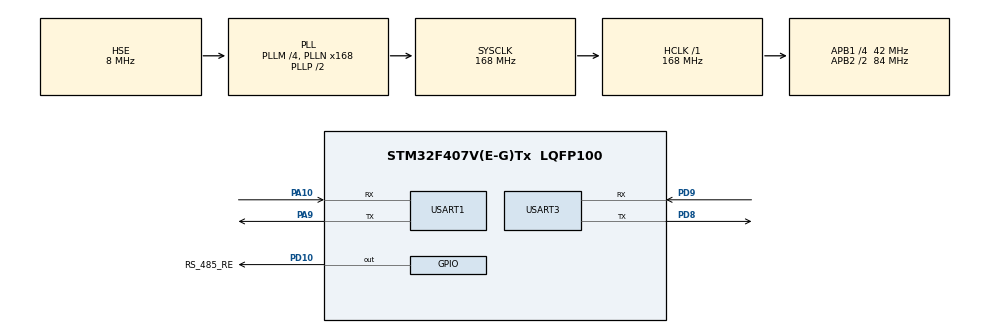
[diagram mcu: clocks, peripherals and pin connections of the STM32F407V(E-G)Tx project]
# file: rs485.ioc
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Dma.Request0=USART3_RX
Dma.Request1=USART3_TX
Dma.Request2=USART1_RX
Dma.Request3=USART1_TX
Dma.USART1_RX.2.Direction=DMA_PERIPH_TO_MEMORY
Dma.USART1_RX.2.FIFOMode=DMA_FIFOMODE_DISABLE
Dma.USART1_RX.2.Instance=DMA2_Stream2
Dma.USART1_RX.2.MemDataAlignment=DMA_MDATAALIGN_BYTE
Dma.USART1_RX.2.MemInc=DMA_MINC_ENABLE
Dma.USART1_RX.2.Mode=DMA_NORMAL
Dma.USART1_RX.2.PeriphDataAlignment=DMA_PDATAALIGN_BYTE
Dma.USART1_RX.2.PeriphInc=DMA_PINC_DISABLE
Dma.USART1_RX.2.Priority=DMA_PRIORITY_LOW
Dma.USART1_TX.3.Direction=DMA_MEMORY_TO_PERIPH
Dma.USART1_TX.3.FIFOMode=DMA_FIFOMODE_DISABLE
Dma.USART1_TX.3.Instance=DMA2_Stream7
Dma.USART1_TX.3.MemDataAlignment=DMA_MDATAALIGN_BYTE
Dma.USART1_TX.3.MemInc=DMA_MINC_ENABLE
Dma.USART1_TX.3.Mode=DMA_NORMAL
Dma.USART1_TX.3.PeriphDataAlignment=DMA_PDATAALIGN_BYTE
Dma.USART1_TX.3.PeriphInc=DMA_PINC_DISABLE
Dma.USART1_TX.3.Priority=DMA_PRIORITY_LOW
Dma.USART3_RX.0.Direction=DMA_PERIPH_TO_MEMORY
Dma.USART3_RX.0.FIFOMode=DMA_FIFOMODE_DISABLE
Dma.USART3_RX.0.Instance=DMA1_Stream1
Dma.USART3_RX.0.MemDataAlignment=DMA_MDATAALIGN_BYTE
Dma.USART3_RX.0.MemInc=DMA_MINC_ENABLE
Dma.USART3_RX.0.Mode=DMA_NORMAL
Dma.USART3_RX.0.PeriphDataAlignment=DMA_PDATAALIGN_BYTE
Dma.USART3_RX.0.PeriphInc=DMA_PINC_DISABLE
Dma.USART3_RX.0.Priority=DMA_PRIORITY_LOW
Dma.USART3_TX.1.Direction=DMA_MEMORY_TO_PERIPH
Dma.USART3_TX.1.FIFOMode=DMA_FIFOMODE_DISABLE
Dma.USART3_TX.1.Instance=DMA1_Stream3
Dma.USART3_TX.1.MemDataAlignment=DMA_MDATAALIGN_BYTE
Dma.USART3_TX.1.MemInc=DMA_MINC_ENABLE
Dma.USART3_TX.1.Mode=DMA_NORMAL
Dma.USART3_TX.1.PeriphDataAlignment=DMA_PDATAALIGN_BYTE
Dma.USART3_TX.1.PeriphInc=DMA_PINC_DISABLE
Dma.USART3_TX.1.Priority=DMA_PRIORITY_LOW
FREERTOS.Tasks01=defaultTask,24,128,StartDefaultTask,Default,NULL,Dynamic,NULL,NULL
FREERTOS.configUSE_NEWLIB_REENTRANT=1
Mcu.Family=STM32F4
Mcu.Name=STM32F407V(E-G)Tx
Mcu.Package=LQFP100
NVIC.DMA1_Stream1_IRQn=true\:5\:0\:false\:false\:true\:true\:false\:true\:true
NVIC.DMA1_Stream3_IRQn=true\:5\:0\:false\:false\:true\:true\:false\:true\:true
NVIC.DMA2_Stream2_IRQn=true\:5\:0\:false\:false\:true\:true\:false\:true\:true
NVIC.DMA2_Stream7_IRQn=true\:5\:0\:false\:false\:true\:true\:false\:true\:true
NVIC.PriorityGroup=NVIC_PRIORITYGROUP_4
NVIC.TIM3_IRQn=true\:15\:0\:false\:false\:true\:false\:false\:true\:true
NVIC.TimeBase=TIM3_IRQn
NVIC.TimeBaseIP=TIM3
NVIC.USART1_IRQn=true\:5\:0\:false\:false\:true\:true\:true\:true\:true
NVIC.USART3_IRQn=true\:5\:0\:false\:false\:true\:true\:true\:true\:true
PA10.Mode=Asynchronous
PA10.Signal=USART1_RX
PA13.Mode=Serial_Wire
PA13.Signal=SYS_JTMS-SWDIO
PA14.Mode=Serial_Wire
PA14.Signal=SYS_JTCK-SWCLK
PA9.Mode=Asynchronous
PA9.Signal=USART1_TX
PC14-OSC32_IN.Mode=LSE-External-Oscillator
PC14-OSC32_IN.Signal=RCC_OSC32_IN
PC15-OSC32_OUT.Mode=LSE-External-Oscillator
PC15-OSC32_OUT.Signal=RCC_OSC32_OUT
PD10.GPIO_Label=RS_485_RE
PD10.GPIO_Speed=GPIO_SPEED_FREQ_VERY_HIGH
PD10.Signal=GPIO_Output
PD8.Mode=Asynchronous
PD8.Signal=USART3_TX
PD9.Mode=Asynchronous
PD9.Signal=USART3_RX
PH0-OSC_IN.Mode=HSE-External-Oscillator
PH0-OSC_IN.Signal=RCC_OSC_IN
PH1-OSC_OUT.Mode=HSE-External-Oscillator
PH1-OSC_OUT.Signal=RCC_OSC_OUT
ProjectManager.HeapSize=0x200
ProjectManager.StackSize=0x400
ProjectManager.TargetToolchain=STM32CubeIDE
RCC.48MHZClocksFreq_Value=84000000
RCC.AHBFreq_Value=168000000
RCC.APB1CLKDivider=RCC_HCLK_DIV4
RCC.APB1Freq_Value=42000000
RCC.APB1TimFreq_Value=84000000
RCC.APB2CLKDivider=RCC_HCLK_DIV2
RCC.APB2Freq_Value=84000000
RCC.APB2TimFreq_Value=168000000
RCC.CortexFreq_Value=168000000
RCC.HCLKFreq_Value=168000000
RCC.HSE_VALUE=8000000
RCC.HSI_VALUE=16000000
RCC.PLLM=4
RCC.PLLN=168
RCC.PLLSourceVirtual=RCC_PLLSOURCE_HSE
RCC.SYSCLKFreq_VALUE=168000000
RCC.SYSCLKSource=RCC_SYSCLKSOURCE_PLLCLK
RCC.VCOOutputFreq_Value=336000000
USART1.VirtualMode=VM_ASYNC
USART3.VirtualMode=VM_ASYNC
VP_FREERTOS_VS_CMSIS_V2.Mode=CMSIS_V2
VP_SYS_VS_tim3.Mode=TIM3
board=custom

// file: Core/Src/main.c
/* USER CODE BEGIN Header */
/**
  ******************************************************************************
  * @file           : main.c
  * @brief          : Main program body
  ******************************************************************************
  * @attention
  *
  * Copyright (c) 2025 STMicroelectronics.
  * All rights reserved.
  *
  * This software is licensed under terms that can be found in the LICENSE file
  * in the root directory of this software component.
  * If no LICENSE file comes with this software, it is provided AS-IS.
  *
  ******************************************************************************
  */
/* USER CODE END Header */
#include "main.h"
#include "cmsis_os.h"
#include "dma.h"
#include "usart.h"
#include "gpio.h"

/* USER CODE BEGIN PTD */
#ifdef __GNUC__
#define PUTCHAR_PROTOTYPE int __io_putchar(int ch)
#else
#define PUTCHAR_PROTOTYPE int fputc(int ch, FILE *f)
#endif

PUTCHAR_PROTOTYPE
{
    HAL_UART_Transmit(&huart1, (uint8_t *)&ch, 1, HAL_MAX_DELAY);
    return ch;
}
/* USER CODE END PTD */

void SystemClock_Config(void);
void MX_FREERTOS_Init(void);

int main(void)
{

  /* MCU Configuration--------------------------------------------------------*/

  /* Reset of all peripherals, Initializes the Flash interface and the Systick. */
  HAL_Init();

  /* Configure the system clock */
  SystemClock_Config();

  /* Initialize all configured peripherals */
  MX_GPIO_Init();
  MX_DMA_Init();
  MX_USART1_UART_Init();
  MX_USART3_UART_Init();

  /* Init scheduler */
  osKernelInitialize();  /* Call init function for freertos objects (in cmsis_os2.c) */
  MX_FREERTOS_Init();

  /* Start scheduler */
  osKernelStart();

  /* We should never get here as control is now taken by the scheduler */

  /* Infinite loop */
  while (1)
  {

  }
}

void SystemClock_Config(void)
{
  RCC_OscInitTypeDef RCC_OscInitStruct = {0};
  RCC_ClkInitTypeDef RCC_ClkInitStruct = {0};

  /** Configure the main internal regulator output voltage
  */
  __HAL_RCC_PWR_CLK_ENABLE();
  __HAL_PWR_VOLTAGESCALING_CONFIG(PWR_REGULATOR_VOLTAGE_SCALE1);

  /** Initializes the RCC Oscillators according to the specified parameters
  * in the RCC_OscInitTypeDef structure.
  */
  RCC_OscInitStruct.OscillatorType = RCC_OSCILLATORTYPE_HSE;
  RCC_OscInitStruct.HSEState = RCC_HSE_ON;
  RCC_OscInitStruct.PLL.PLLState = RCC_PLL_ON;
  RCC_OscInitStruct.PLL.PLLSource = RCC_PLLSOURCE_HSE;
  RCC_OscInitStruct.PLL.PLLM = 4;
  RCC_OscInitStruct.PLL.PLLN = 168;
  RCC_OscInitStruct.PLL.PLLP = RCC_PLLP_DIV2;
  RCC_OscInitStruct.PLL.PLLQ = 4;
  if (HAL_RCC_OscConfig(&RCC_OscInitStruct) != HAL_OK)
  {
    Error_Handler();
  }

  /** Initializes the CPU, AHB and APB buses clocks
  */
  RCC_ClkInitStruct.ClockType = RCC_CLOCKTYPE_HCLK|RCC_CLOCKTYPE_SYSCLK
                              |RCC_CLOCKTYPE_PCLK1|RCC_CLOCKTYPE_PCLK2;
  RCC_ClkInitStruct.SYSCLKSource = RCC_SYSCLKSOURCE_PLLCLK;
  RCC_ClkInitStruct.AHBCLKDivider = RCC_SYSCLK_DIV1;
  RCC_ClkInitStruct.APB1CLKDivider = RCC_HCLK_DIV4;
  RCC_ClkInitStruct.APB2CLKDivider = RCC_HCLK_DIV2;

  if (HAL_RCC_ClockConfig(&RCC_ClkInitStruct, FLASH_LATENCY_5) != HAL_OK)
  {
    Error_Handler();
  }
}

void HAL_TIM_PeriodElapsedCallback(TIM_HandleTypeDef *htim)
{
  if (htim->Instance == TIM3)
  {
    HAL_IncTick();
  }
}

void Error_Handler(void)
{
  __disable_irq();
  while (1)
  {
  }
}

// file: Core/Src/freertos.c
/* USER CODE BEGIN Header */
/**
  ******************************************************************************
  * File Name          : freertos.c
  * Description        : Code for freertos applications
  ******************************************************************************
  * @attention
  *
  * Copyright (c) 2025 STMicroelectronics.
  * All rights reserved.
  *
  * This software is licensed under terms that can be found in the LICENSE file
  * in the root directory of this software component.
  * If no LICENSE file comes with this software, it is provided AS-IS.
  *
  ******************************************************************************
  */
/* USER CODE END Header */

#include "FreeRTOS.h"
#include "task.h"
#include "main.h"
#include "cmsis_os.h"

/* Definitions for defaultTask */
osThreadId_t defaultTaskHandle;
const osThreadAttr_t defaultTask_attributes = {
  .name = "defaultTask",
  .stack_size = 128 * 4,
  .priority = (osPriority_t) osPriorityNormal,
};

void StartDefaultTask(void *argument);

void MX_FREERTOS_Init(void); /* (MISRA C 2004 rule 8.1) */

void MX_FREERTOS_Init(void) {

  /* Create the thread(s) */
  /* creation of defaultTask */
  defaultTaskHandle = osThreadNew(StartDefaultTask, NULL, &defaultTask_attributes);

}

void StartDefaultTask(void *argument)
{
  /* USER CODE BEGIN StartDefaultTask */
  /* Infinite loop */
  uint8_t buffer[64] = {0};
  snprintf(buffer, sizeof(buffer), "hello world\r\n");
  for(;;)
  {
      HAL_UART_Transmit_DMA(&huart1, buffer, sizeof(buffer));
      HAL_Delay(5000);
  }
  /* USER CODE END StartDefaultTask */
}

/* USER CODE BEGIN Application */
void HAL_UART_TxCpltCallback(UART_HandleTypeDef* huart) {
    if(huart == &huart1) {
        printf("发送成功 拉低引脚 准备接收数据\n");
        HAL_UARTEx_ReceiveToIdle_DMA(&huart1, usart485_buffer, USART_BUFFER_SIZE);
    }
}
void HAL_UARTEx_RxEventCallback(UART_HandleTypeDef *huart, uint16_t Size) {
    if(huart == &huart1) {
        printf("接收成功 %s \n", usart485_buffer);
        HAL_UARTEx_ReceiveToIdle_DMA(&huart1, usart485_buffer, USART_BUFFER_SIZE);
    }
}
/* USER CODE END Application */
